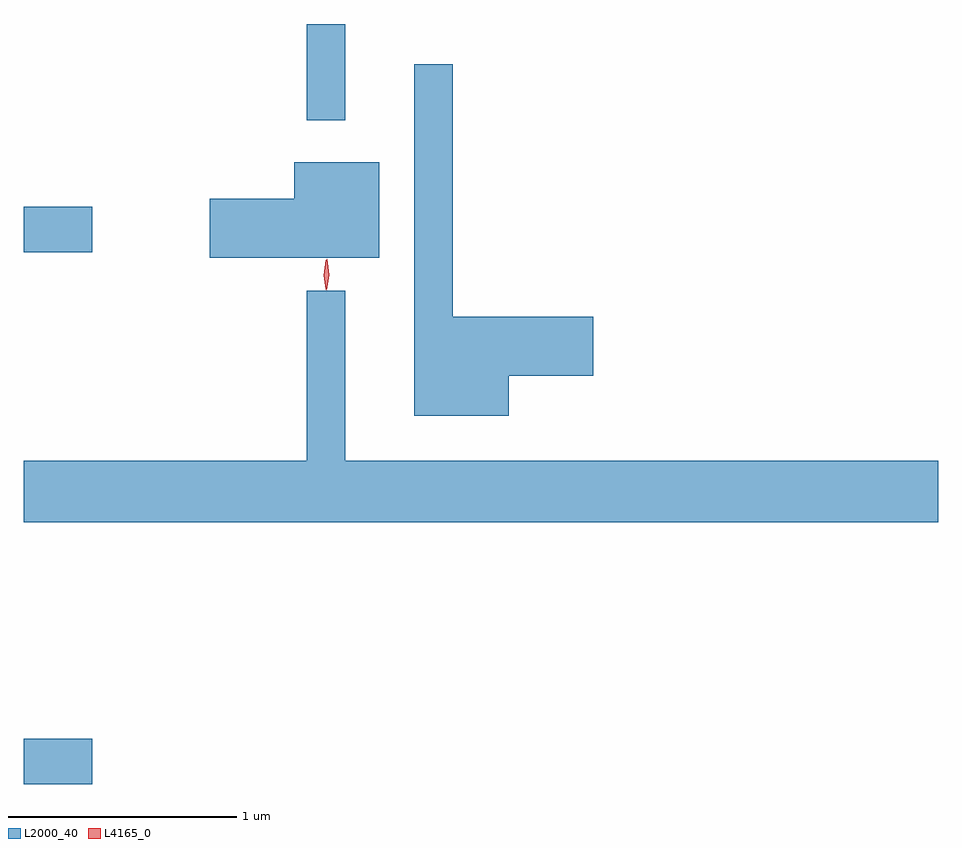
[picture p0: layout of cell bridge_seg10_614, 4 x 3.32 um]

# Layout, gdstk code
import gdstk
lib = gdstk.Library(unit=1e-6, precision=1e-09)
def R(c, l, rs):  # rectangles x0, y0, x1, y1
    for r in rs: c.add(gdstk.rectangle(r[:2], r[2:], *l))
def P(c, l, *ps):  # polygons
    for p in ps: c.add(gdstk.Polygon(p, *l))
L2000_40 = (2000, 40)
L4165_0 = (4165, 0)

bridge_seg10_614 = lib.new_cell('bridge_seg10_614')
R(bridge_seg10_614, L2000_40, [(658.853,2143.851,659.154,2144.049), (658.853,2146.176,659.154,2146.374), (660.091,2146.753,660.259,2147.174)])
P(bridge_seg10_614, L2000_40, [(660.974,2145.636),(661.344,2145.636),(661.344,2145.894),(660.729,2145.894),(660.729,2146.998),(660.561,2146.998),(660.561,2145.461),(660.974,2145.461)],
  [(660.409,2146.569),(660.036,2146.569),(660.036,2146.409),(659.666,2146.409),(659.666,2146.151),(660.409,2146.151)],
  [(662.853,2145.264),(660.259,2145.264),(660.259,2146.008),(660.091,2146.008),(660.091,2145.264),(658.853,2145.264),(658.853,2144.996),(662.853,2144.996)])
P(bridge_seg10_614, L4165_0, [(660.175,2146.013),(660.174,2146.014),(660.165,2146.076),(660.174,2146.14),(660.175,2146.14),(660.176,2146.14),(660.185,2146.076),(660.176,2146.014)],
  [(660.178,2146.01),(660.178,2146.01),(660.169,2146.078),(660.179,2146.146),(660.18,2146.146),(660.18,2146.146),(660.189,2146.078),(660.179,2146.01)])

lib.write_gds('bridge_seg10_614.gds')
